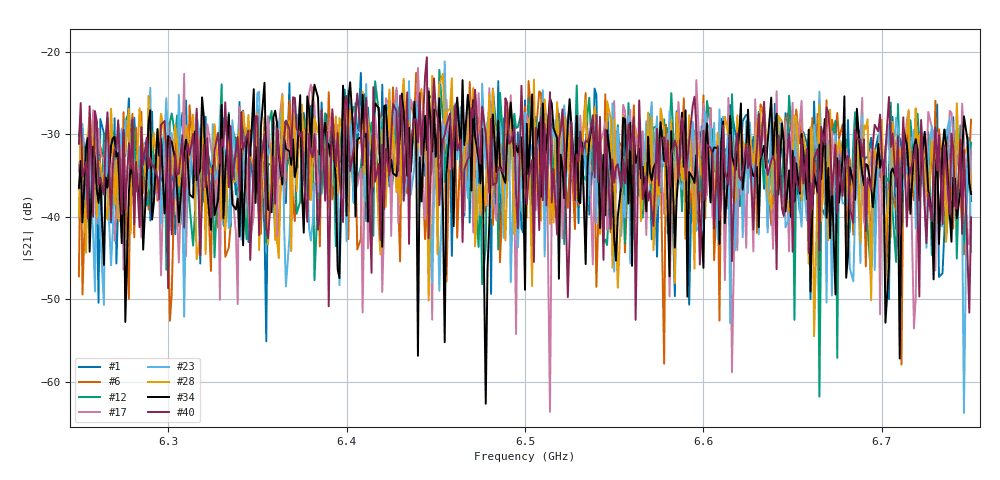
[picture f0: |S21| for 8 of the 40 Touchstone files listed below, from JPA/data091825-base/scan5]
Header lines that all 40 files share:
# Hz S RI R 50
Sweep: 6.25 GHz to 6.75 GHz
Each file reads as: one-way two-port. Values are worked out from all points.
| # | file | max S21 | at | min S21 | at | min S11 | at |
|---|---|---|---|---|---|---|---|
| 1 | trace0.s2p | -22.58 dB | 6.408 GHz | -55.1 dB | 6.355 GHz | -3.5 dB | 6.678 GHz |
| 2 | trace1.s2p | -22.82 dB | 6.46 GHz | -72.0 dB | 6.419 GHz | -3.3 dB | 6.661 GHz |
| 3 | trace2.s2p | -22.10 dB | 6.456 GHz | -54.7 dB | 6.602 GHz | -3.1 dB | 6.644 GHz |
| 4 | trace3.s2p | -24.15 dB | 6.459 GHz | -53.1 dB | 6.296 GHz | -3.5 dB | 6.655 GHz |
| 5 | trace4.s2p | -20.26 dB | 6.425 GHz | -79.3 dB | 6.332 GHz | -3.2 dB | 6.65 GHz |
| 6 | trace5.s2p | -22.56 dB | 6.439 GHz | -57.9 dB | 6.711 GHz | -3.2 dB | 6.656 GHz |
| 7 | trace6.s2p | -22.53 dB | 6.429 GHz | -66.3 dB | 6.639 GHz | -3.3 dB | 6.659 GHz |
| 8 | trace7.s2p | -22.76 dB | 6.496 GHz | -58.3 dB | 6.482 GHz | -3.5 dB | 6.698 GHz |
| 9 | trace8.s2p | -21.10 dB | 6.486 GHz | -50.8 dB | 6.266 GHz | -3.6 dB | 6.656 GHz |
| 10 | trace9.s2p | -22.43 dB | 6.411 GHz | -62.2 dB | 6.726 GHz | -4.7 dB | 6.74 GHz |
| 11 | trace10.s2p | -22.66 dB | 6.406 GHz | -54.4 dB | 6.369 GHz | -3.9 dB | 6.634 GHz |
| 12 | trace11.s2p | -22.21 dB | 6.452 GHz | -61.8 dB | 6.665 GHz | -3.4 dB | 6.641 GHz |
| 13 | trace12.s2p | -21.48 dB | 6.45 GHz | -64.3 dB | 6.522 GHz | -3.5 dB | 6.652 GHz |
| 14 | trace13.s2p | -22.58 dB | 6.471 GHz | -64.7 dB | 6.701 GHz | -3.3 dB | 6.651 GHz |
| 15 | trace14.s2p | -23.12 dB | 6.341 GHz | -55.8 dB | 6.275 GHz | -3.3 dB | 6.635 GHz |
| 16 | trace15.s2p | -21.55 dB | 6.462 GHz | -63.1 dB | 6.376 GHz | -3.5 dB | 6.678 GHz |
| 17 | trace16.s2p | -21.97 dB | 6.44 GHz | -63.6 dB | 6.514 GHz | -3.5 dB | 6.649 GHz |
| 18 | trace17.s2p | -22.43 dB | 6.388 GHz | -57.2 dB | 6.699 GHz | -3.7 dB | 6.646 GHz |
| 19 | trace18.s2p | -21.69 dB | 6.465 GHz | -58.4 dB | 6.571 GHz | -3.7 dB | 6.638 GHz |
| 20 | trace19.s2p | -22.80 dB | 6.386 GHz | -67.9 dB | 6.329 GHz | -3.1 dB | 6.628 GHz |
| 21 | trace20.s2p | -21.77 dB | 6.47 GHz | -53.6 dB | 6.668 GHz | -3.1 dB | 6.612 GHz |
| 22 | trace21.s2p | -22.82 dB | 6.435 GHz | -62.8 dB | 6.646 GHz | -3.4 dB | 6.684 GHz |
| 23 | trace22.s2p | -21.19 dB | 6.455 GHz | -63.8 dB | 6.746 GHz | -3.4 dB | 6.641 GHz |
| 24 | trace23.s2p | -23.10 dB | 6.481 GHz | -58.1 dB | 6.252 GHz | -3.3 dB | 6.666 GHz |
| 25 | trace24.s2p | -22.02 dB | 6.481 GHz | -57.7 dB | 6.695 GHz | -3.1 dB | 6.649 GHz |
| 26 | trace25.s2p | -21.58 dB | 6.384 GHz | -58.3 dB | 6.579 GHz | -3.8 dB | 6.638 GHz |
| 27 | trace26.s2p | -23.31 dB | 6.478 GHz | -65.3 dB | 6.719 GHz | -3.3 dB | 6.628 GHz |
| 28 | trace27.s2p | -22.70 dB | 6.454 GHz | -54.5 dB | 6.662 GHz | -3.1 dB | 6.646 GHz |
| 29 | trace28.s2p | -23.32 dB | 6.544 GHz | -54.5 dB | 6.604 GHz | -3.5 dB | 6.651 GHz |
| 30 | trace29.s2p | -22.33 dB | 6.372 GHz | -66.7 dB | 6.738 GHz | -4.4 dB | 6.741 GHz |
| 31 | trace30.s2p | -22.12 dB | 6.445 GHz | -67.9 dB | 6.699 GHz | -3.8 dB | 6.689 GHz |
| 32 | trace31.s2p | -21.46 dB | 6.486 GHz | -65.6 dB | 6.346 GHz | -3.2 dB | 6.67 GHz |
| 33 | trace32.s2p | -20.68 dB | 6.474 GHz | -52.1 dB | 6.25 GHz | -3.9 dB | 6.652 GHz |
| 34 | trace33.s2p | -23.45 dB | 6.465 GHz | -62.7 dB | 6.478 GHz | -3.5 dB | 6.66 GHz |
| 35 | trace34.s2p | -22.87 dB | 6.612 GHz | -61.2 dB | 6.479 GHz | -3.4 dB | 6.624 GHz |
| 36 | trace35.s2p | -23.48 dB | 6.414 GHz | -57.9 dB | 6.61 GHz | -3.5 dB | 6.628 GHz |
| 37 | trace36.s2p | -21.41 dB | 6.435 GHz | -74.8 dB | 6.406 GHz | -3.2 dB | 6.681 GHz |
| 38 | trace37.s2p | -21.16 dB | 6.432 GHz | -52.5 dB | 6.519 GHz | -3.5 dB | 6.69 GHz |
| 39 | trace38.s2p | -21.11 dB | 6.466 GHz | -54.8 dB | 6.442 GHz | -3.4 dB | 6.684 GHz |
| 40 | trace39.s2p | -20.68 dB | 6.445 GHz | -52.5 dB | 6.562 GHz | -4.4 dB | 6.699 GHz |
